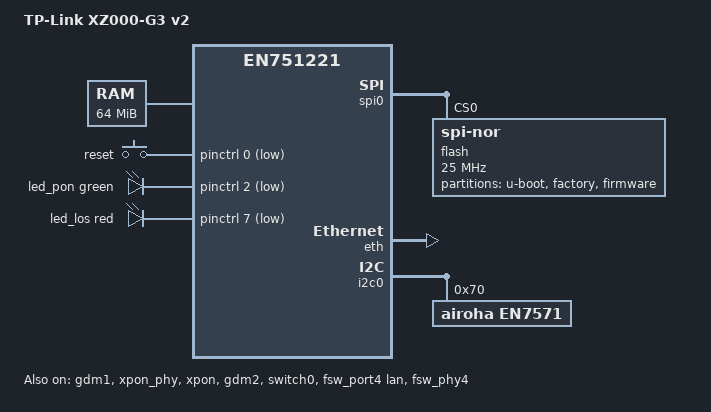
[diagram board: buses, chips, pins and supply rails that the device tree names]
// SPDX-License-Identifier: (GPL-2.0-only OR BSD-2-Clause)
/dts-v1/;

#include <dt-bindings/gpio/gpio.h>
#include <dt-bindings/input/input.h>
#include <dt-bindings/leds/common.h>

#include "en751221.dtsi"

/ {
	model = "TP-Link XZ000-G3 v2";
	compatible = "tplink,xz000-g3-v2", "econet,en751221";

	memory@0 {
		device_type = "memory";
		reg = <0x00000000 0x04000000>;
	};

	chosen {
		stdout-path = "/serial@1fbf0000:115200";
		linux,usable-memory-range = <0x00020000 0x03fe0000>;
	};

	keys {
		compatible = "gpio-keys";

		reset {
			label = "reset";
			linux,code = <KEY_RESTART>;
			gpios = <&pinctrl 0 GPIO_ACTIVE_LOW>;
			debounce-interval = <60>;
		};
	};

	leds {
		compatible = "gpio-leds";

		led_pon: led-pon {
			color = <LED_COLOR_ID_GREEN>;
			function = LED_FUNCTION_STATUS;
			function-enumerator = <2>;
			gpios = <&pinctrl 2 GPIO_ACTIVE_LOW>;
		};

		led_los: led-los {
			color = <LED_COLOR_ID_RED>;
			function = LED_FUNCTION_FAULT;
			function-enumerator = <7>;
			gpios = <&pinctrl 7 GPIO_ACTIVE_LOW>;
		};
	};
};

/* SPI-NOR instead of the dtsi's SPI-NAND */
/delete-node/ &nand;

&spi0 {
	flash@0 {
		compatible = "jedec,spi-nor";
		reg = <0>;
		spi-max-frequency = <25000000>;
		/* WP# and HOLD# are only pulled up: two data lines, not four */
		spi-tx-bus-width = <1>;
		spi-rx-bus-width = <2>;

		partitions {
			compatible = "fixed-partitions";
			#address-cells = <1>;
			#size-cells = <1>;

			partition@0 {
				label = "u-boot";
				reg = <0x000000 0x040000>;
				read-only;
			};

			/*
			 * Written by U-Boot's migrate_layout: the stock factoryinfo
			 * block at 0x0 and the stock loid block at 0x8000.
			 */
			partition@40000 {
				label = "factory";
				reg = <0x040000 0x010000>;
				read-only;

				nvmem-layout {
					compatible = "fixed-layout";
					#address-cells = <1>;
					#size-cells = <1>;

					macaddr_factory_0: macaddr@0 {
						compatible = "mac-base";
						reg = <0x0 0x6>;
						#nvmem-cell-cells = <1>;
					};

					/* Big endian; unrelated data follows, keep it 0xa0 long */
					en7571_bob: calibration@16 {
						reg = <0x16 0xa0>;
					};

					gpon_serial: serial@8031 {
						reg = <0x8031 0x10>;
					};

					gpon_password: password@8048 {
						reg = <0x8048 0x15>;
					};
				};
			};

			partition@50000 {
				compatible = "denx,fit";
				label = "firmware";
				reg = <0x050000 0x3b0000>;
			};
		};
	};
};

&eth {
	status = "okay";
};

&gdm1 {
	status = "okay";
	nvmem-cells = <&macaddr_factory_0 0>;
	nvmem-cell-names = "mac-address";
};

&i2c0 {
	status = "okay";

	en7571: lddla@70 {
		compatible = "airoha,en7571";
		reg = <0x70>;

		nvmem-cells = <&en7571_bob>;
		nvmem-cell-names = "calibration";

		#optical-frontend-cells = <0>;
	};
};

&xpon_phy {
	status = "okay";
};

&xpon {
	status = "okay";

	/* Unprovisioned: stock default serial "TPLG" + MAC[2..5] */
	nvmem-cells = <&gpon_serial>, <&gpon_password>;
	nvmem-cell-names = "gpon-serial-number", "gpon-password";
	airoha,gpon-serial-from-mac;
	omci-vendor-id = "TPLG";

	optical-frontends = <&en7571>;
	optical-frontend-names = "pon";

	leds = <&led_pon>, <&led_los>;
	led-names = "pon", "los";
};

&gdm2 {
	status = "okay";
	phy-mode = "internal";
	airoha,xpon-managed;
	openwrt,netdev-name = "pon0";
	nvmem-cells = <&macaddr_factory_0 0>;
	nvmem-cell-names = "mac-address";
};

&switch0 {
	status = "okay";
};

&fsw_port4 {
	label = "lan";
	status = "okay";
};

&fsw_phy4 {
	status = "okay";
};

&gport5 {
	status = "disabled";
};
